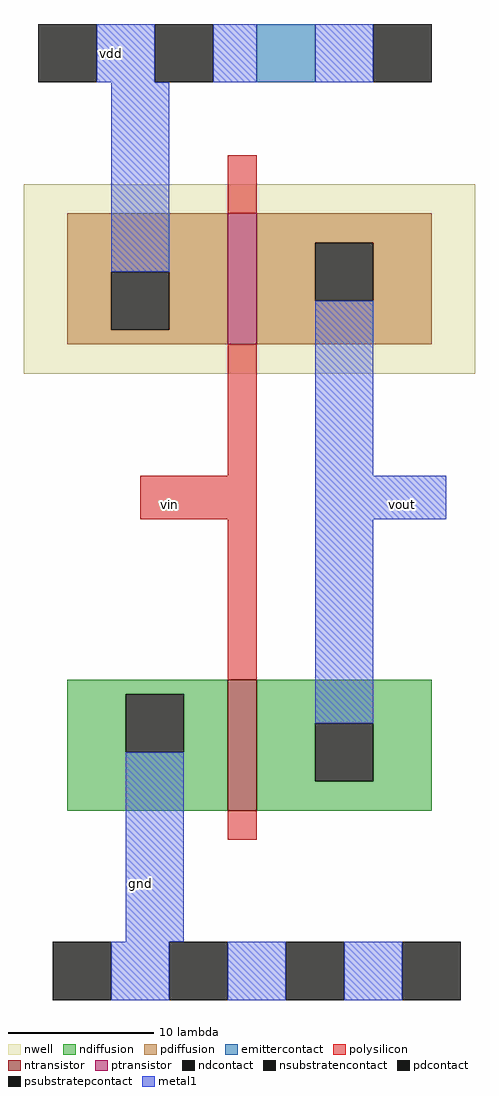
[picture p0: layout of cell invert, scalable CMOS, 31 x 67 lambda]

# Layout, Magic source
magic
tech scmos
<< nwell >>
rect -15 2 16 15
<< polysilicon >>
rect -1 13 1 17
rect -1 -5 1 4
rect -7 -8 1 -5
rect -1 -19 1 -8
rect -1 -30 1 -28
<< ndiffusion >>
rect -12 -20 -1 -19
rect -12 -24 -8 -20
rect -4 -24 -1 -20
rect -12 -28 -1 -24
rect 1 -22 13 -19
rect 1 -26 5 -22
rect 9 -26 13 -22
rect 1 -28 13 -26
<< pdiffusion >>
rect -12 9 -1 13
rect -12 5 -9 9
rect -5 5 -1 9
rect -12 4 -1 5
rect 1 11 13 13
rect 1 7 5 11
rect 9 7 13 11
rect 1 4 13 7
<< metal1 >>
rect -10 22 -6 26
rect -2 22 1 26
rect 5 22 9 26
rect -9 9 -5 22
rect 5 -5 9 7
rect 5 -8 14 -5
rect -8 -37 -4 -24
rect 5 -22 9 -8
rect -9 -41 -5 -37
rect -1 -41 3 -37
rect 7 -41 11 -37
<< ntransistor >>
rect -1 -28 1 -19
<< ptransistor >>
rect -1 4 1 13
<< ndcontact >>
rect -8 -24 -4 -20
rect 5 -26 9 -22
<< pdcontact >>
rect -9 5 -5 9
rect 5 7 9 11
<< emittercontact >>
rect 1 22 5 26
<< psubstratepcontact >>
rect -13 -41 -9 -37
rect -5 -41 -1 -37
rect 3 -41 7 -37
rect 11 -41 15 -37
<< nsubstratencontact >>
rect -14 22 -10 26
rect -6 22 -2 26
rect 9 22 13 26
<< labels >>
rlabel metal1 -9 24 -9 24 5 vdd
rlabel metal1 -7 -33 -7 -33 1 gnd
rlabel polysilicon -5 -7 -5 -7 1 vin
rlabel metal1 11 -7 11 -7 7 vout
<< end >>
